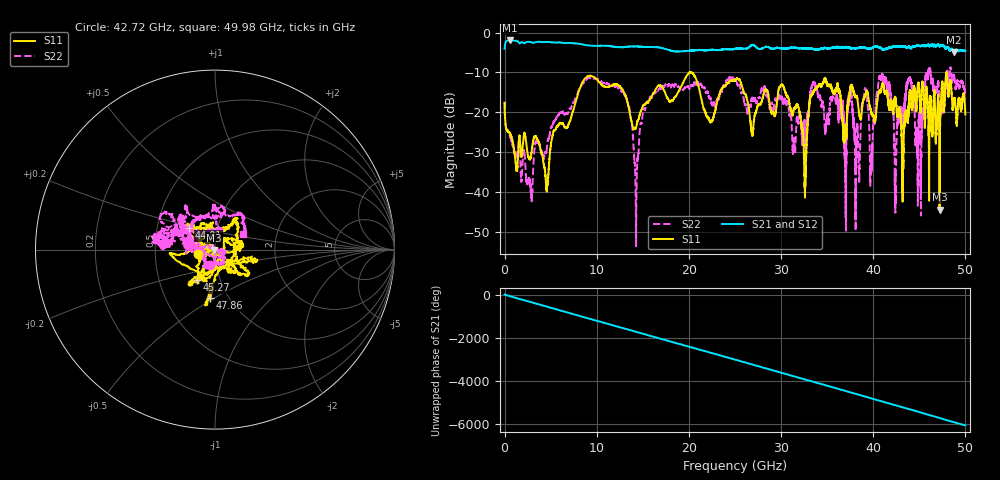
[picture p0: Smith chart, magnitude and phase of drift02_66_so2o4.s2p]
!Created with skrf (http://scikit-rf.org).
# Hz S RI R 50.0
!freq ReS11 ImS11 ReS21 ImS21 ReS12 ImS12 ReS22 ImS22
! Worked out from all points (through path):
!   10001 points, 300 kHz to 50 GHz, reference 50 ohm
!   highest |S21| = -1.99 dB at 585.3 MHz (marker M1); lowest = -4.9 dB at 48.77 GHz (marker M2)
!   group delay of S21, straight-line fit = 337 ps
!   lowest |S11| = -44.5 dB at 47.2 GHz (marker M3), VSWR 1.01, Z = 49.4 - j0.145 ohm
!   |S11| at or under -10 dB: start of sweep to 20.07 GHz; 20.20741 GHz to 20.22288 GHz (15.47 MHz wide, 0.0765 % of centre); 20.24 GHz to end of sweep (the widest 3 of 4)
!   |S22| runs from -53.7 to -8.7 dB; largest |S21 - S12| = 0.033
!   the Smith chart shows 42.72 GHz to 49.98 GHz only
!   S11 on the Smith chart (normalised r, x): 42.72 GHz: 0.83, -0.04; 44.01 GHz: 0.73, +0.18; 45.27 GHz: 0.77, -0.27; 47.86 GHz: 0.82, -0.48; 49.98 GHz: 1.16, -0.16
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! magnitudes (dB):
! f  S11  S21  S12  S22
! 300 kHz  -17.7  -4.0  -4.0  -17.4
! 585.3 MHz  -25.3  -2.0  -2.0  -26.0
! 4.565 GHz  -39.8  -2.4  -2.4  -29.5
! 8.335 GHz  -13.0  -2.9  -2.9  -13.2
! 13.01 GHz  -15.3  -3.6  -3.6  -15.7
! 14.28 GHz  -23.9  -3.5  -3.5  -49.9
! 16.67 GHz  -13.3  -3.7  -3.7  -14.5
! 25 GHz  -12.1  -4.1  -4.1  -12.2
! 30.18 GHz  -13.3  -4.1  -4.1  -16.7
! 32.58 GHz  -38.7  -4.0  -4.0  -24.0
! 33.34 GHz  -15.6  -4.0  -4.0  -13.8
! 37.48 GHz  -14.7  -3.9  -3.9  -16.0
! 38.29 GHz  -16.7  -3.9  -3.9  -23.9
! 41.67 GHz  -18.4  -3.8  -3.9  -12.9
! 42.72 GHz  -20.2  -3.5  -3.5  -21.1
! 44.01 GHz  -14.5  -3.7  -3.8  -11.5
! 45.27 GHz  -14.1  -3.3  -3.2  -25.1
! 47.2 GHz  -44.5  -3.4  -3.5  -17.1
! 47.86 GHz  -11.4  -4.0  -4.0  -14.1
! 48.77 GHz  -16.6  -4.9  -4.8  -10.7
! 49.98 GHz  -19.7  -4.6  -4.5  -15.1
! 50 GHz  -20.6  -4.6  -4.6  -15.5
